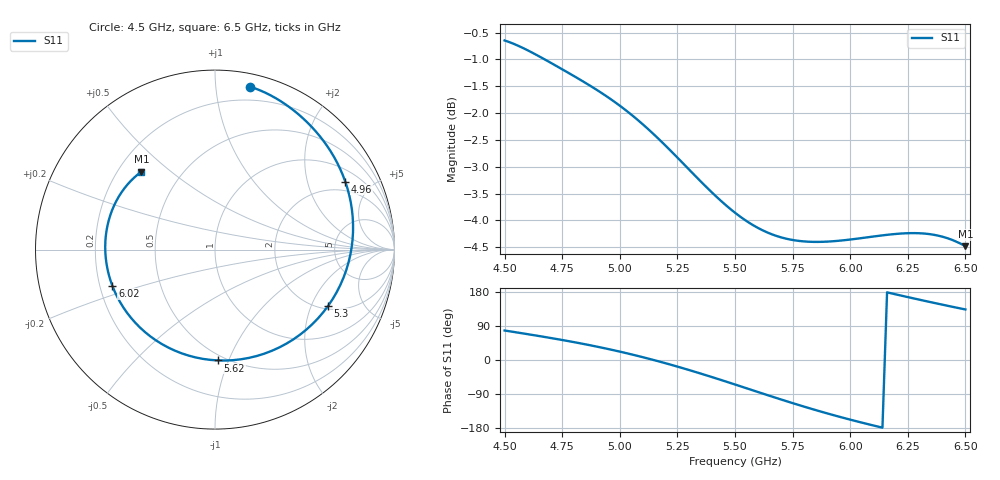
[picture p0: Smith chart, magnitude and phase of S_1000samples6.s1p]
! TOUCHSTONE file generated by CST MICROWAVE STUDIO
! Date and time: Wed Oct 26 16:17:34 2022
! Project name: L.cst
! Parameters = {Di=1.27; Epsilon_r=1.56; InnerDiameter=1.27; Length=2; Lf=10; Lg=60; OuterConductorThickness=0.2921; OuterDiameter=3.6; Wf=3; Wp=41.2; de=1.5; df=6.8; g=0.8; gx=3.17261; gy=2.01672; h=2.34; hf=1.524; px=11.6626; py=11.4711; w=9.7; wx=8.49002; wy=9.4544}
! Header version: 2018
! Port assignment regex: !\s*Touchstone port\s*([0-9]+)\s*=\s*(CST MWS port|CST DS port)\s*([0-9]+|Zmin|Zmax)\s*\(\"(.*)\"\)(\s*mode\s*([0-9]+))?.*
! Touchstone port assignment:
! Touchstone port 1 = CST MWS port 1 ("")
# GHz S DB R 50
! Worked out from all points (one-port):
!   101 points, 4.5 GHz to 6.5 GHz, reference 50 ohm
!   lowest |S11| = -4.5 dB at 6.5 GHz (marker M1), VSWR 3.96, Z = 14.8 + j19.9 ohm
!   |S11| at or under -10 dB: nowhere
!   S11 on the Smith chart (normalised r, x): 4.5 GHz: 0.09, +1.23; 4.96 GHz: 1.51, +3.46; 5.3 GHz: 2.16, -2.67; 5.62 GHz: 0.46, -0.92; 6.02 GHz: 0.25, -0.16; 6.5 GHz: 0.30, +0.40
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4.5  -0.65 77.8
4.62  -0.87 66.2
4.76  -1.21 51.7
4.86  -1.46 40.3
4.96  -1.74 27.6
5  -1.86 22.1
5.08  -2.13 10.4
5.14  -2.36 1.1
5.2  -2.61 -8.8
5.26  -2.87 -19.2
5.3  -3.05 -26.4
5.4  -3.48 -45.1
5.46  -3.71 -56.7
5.5  -3.86 -64.6
5.56  -4.04 -76.6
5.62  -4.18 -88.5
5.68  -4.29 -100.3
5.76  -4.37 -115.6
5.82  -4.40 -126.7
5.88  -4.40 -137.4
5.94  -4.38 -147.6
6  -4.36 -157.4
6.02  -4.34 -160.5
6.08  -4.31 -169.7
6.14  -4.28 -178.6
6.26  -4.24 164.6
6.38  -4.28 148.6
6.5  -4.48 133.4
